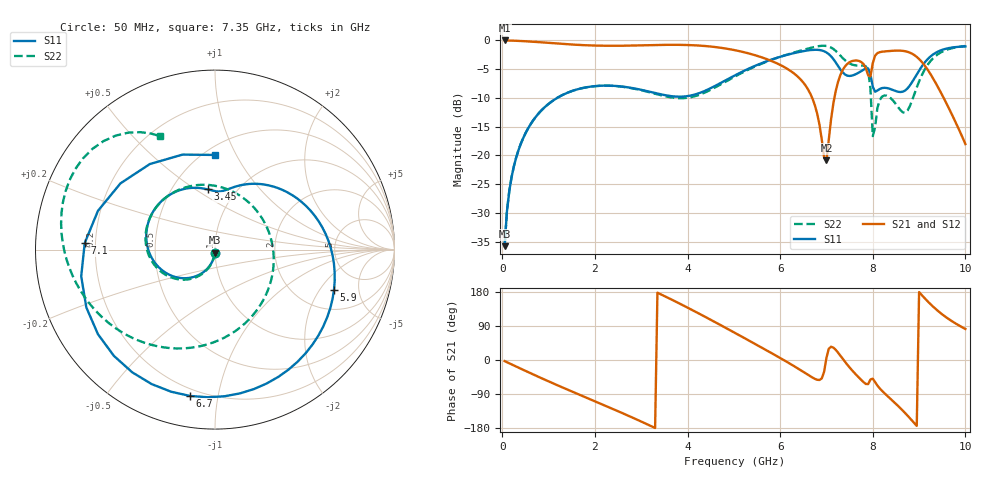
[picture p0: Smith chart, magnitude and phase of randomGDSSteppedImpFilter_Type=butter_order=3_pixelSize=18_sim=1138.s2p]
! freq	dB(S11)	phase(S11)	dB(S12)	phase(S12)
!  dB(S21)	phase(S21)	dB(S22)	phase(S22)
!S-par simulation data
#  GHz  S  DB  R 50
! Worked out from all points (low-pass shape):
!   200 points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, 50 MHz to 10 GHz, reference 50 ohm
!   highest |S21| = -0.01 dB at 50 MHz (marker M1); lowest = -20.8 dB at 7 GHz (marker M2)
!   |S21| within 3 dB of the highest: start of sweep to 5.626 GHz; 8.036 GHz to 8.969 GHz (932.7 MHz wide, 11 % of centre)
!   lowest |S11| = -35.8 dB at 50 MHz (marker M3), VSWR 1.03, Z = 49.9 - j1.62 ohm
!   |S11| at or under -10 dB: start of sweep to 1.185 GHz
!   |S22| runs from -35.7 to -0.9 dB; largest |S21 - S12| = 0
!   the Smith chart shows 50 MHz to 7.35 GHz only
!   S11 on the Smith chart (normalised r, x): 50 MHz: 1.00, -0.03; 3.45 GHz: 0.74, +0.56; 5.9 GHz: 3.11, -2.74; 6.7 GHz: 0.16, -0.83; 7.1 GHz: 0.16, +0.02; 7.35 GHz: 0.56, +0.82
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0.05  -35.78 -92.8  -0.01 -2.9  -0.01 -2.9  -35.75 -92.7
0.2  -23.79 -102.3  -0.04 -11.6  -0.04 -11.6  -23.79 -101.5
0.5  -16.16 -120.1  -0.15 -28.7  -0.15 -28.7  -16.15 -118.4
1.75  -8.26 171.6  -0.82 -96.0  -0.82 -96.0  -8.26 175.2
3.4  -9.33 98.5  -0.79 174.7  -0.79 174.7  -9.48 70.4
3.45  -9.42 97.0  -0.78 171.7  -0.78 171.7  -9.58 66.0
4.35  -8.86 74.0  -0.96 115.9  -0.96 115.9  -9.15 -23.6
5.05  -5.97 41.3  -1.75 69.8  -1.75 69.8  -6.16 -83.6
5.9  -3.10 -18.7  -3.88 12.3  -3.88 12.3  -3.13 -139.4
6.3  -2.21 -53.6  -5.75 -16.1  -5.75 -16.1  -2.10 -163.5
6.7  -1.65 -99.7  -10.16 -46.5  -10.16 -46.5  -1.21 170.4
7  -2.09 -155.9  -20.83 6.0  -20.83 6.0  -0.97 145.4
7.1  -2.77 177.1  -13.67 35.1  -13.67 35.1  -1.24 135.8
7.35  -5.56 90.2  -5.15 3.2  -5.15 3.2  -3.06 115.9
7.6  -5.99 10.7  -3.51 -33.6  -3.51 -33.6  -4.30 104.2
7.9  -4.87 -55.3  -6.06 -63.5  -6.06 -63.5  -5.27 58.5
8  -8.06 -73.6  -3.95 -49.3  -3.95 -49.3  -16.64 44.9
8.35  -8.37 -76.1  -1.85 -98.8  -1.85 -98.8  -9.81 65.6
8.7  -8.71 -74.7  -1.88 -140.1  -1.88 -140.1  -12.56 -26.7
9  -5.24 -75.2  -3.24 179.2  -3.24 179.2  -7.14 -123.2
9.4  -1.97 -103.9  -8.01 130.2  -8.01 130.2  -2.44 169.8
10  -1.04 -144.8  -18.03 81.8  -18.03 81.8  -0.98 114.5
